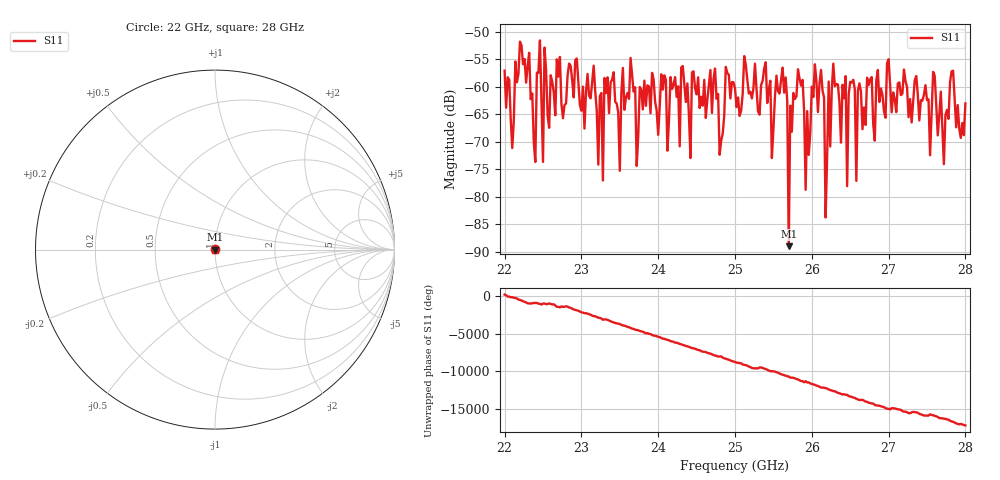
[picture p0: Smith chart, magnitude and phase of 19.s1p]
#  HZ  S  RI  R  50.00
! Rohde & Schwarz ZVA40 4Ports - Version 3.90 - 1145.1110k42 SN: 100403
! Date: 2023-10-04 11:38:45
! Measurement: S12
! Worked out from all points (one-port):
!   301 points, 22 GHz to 28 GHz, reference 50 ohm
!   lowest |S11| = -88.9 dB at 25.7 GHz (marker M1), VSWR 1.00, Z = 50 + j0.00238 ohm
!   |S11| at or under -10 dB: start of sweep to end of sweep
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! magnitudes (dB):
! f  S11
! 22 GHz  -57.1
! 22.76 GHz  -65.7
! 23.16 GHz  -56.2
! 23.28 GHz  -77.0
! 23.3 GHz  -58.4
! 23.42 GHz  -57.4
! 23.5 GHz  -75.3
! 23.54 GHz  -56.6
! 23.72 GHz  -74.4
! 24.26 GHz  -59.9
! 25 GHz  -60.3
! 25.4 GHz  -55.6
! 25.48 GHz  -72.9
! 25.62 GHz  -56.5
! 25.7 GHz  -88.9
! 25.76 GHz  -61.1
! 25.88 GHz  -58.8
! 25.92 GHz  -78.7
! 26.12 GHz  -57.0
! 26.18 GHz  -83.7
! 26.22 GHz  -59.1
! 26.44 GHz  -58.1
! 26.46 GHz  -78.0
! 26.5 GHz  -59.1
! 26.58 GHz  -77.1
! 26.62 GHz  -59.4
! 27.26 GHz  -65.5
! 28 GHz  -63.0
